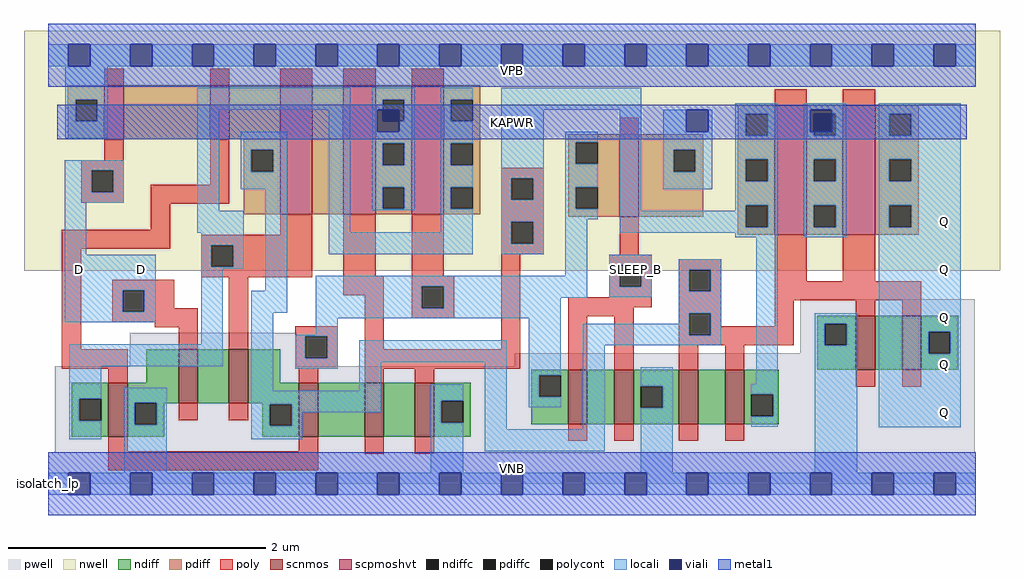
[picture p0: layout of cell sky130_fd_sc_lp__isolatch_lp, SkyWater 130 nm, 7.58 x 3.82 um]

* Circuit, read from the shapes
.subckt sky130_fd_sc_lp__isolatch_lp D SLEEP_B KAPWR VGND VNB VPB VPWR Q
XM1 VGND n1 n2 VNB sky130_fd_pr__nfet_01v8 w=0.42 l=0.15
XM2 n3 D VGND VNB sky130_fd_pr__nfet_01v8 w=0.42 l=0.15
XM3 n4 n2 n3 VNB sky130_fd_pr__nfet_01v8 w=0.42 l=0.15
XM4 n5 n1 n4 VNB sky130_fd_pr__nfet_01v8 w=0.42 l=0.15
XM5 n6 n7 n5 VNB sky130_fd_pr__nfet_01v8 w=0.42 l=0.15
XM6 VGND n7 n6 VNB sky130_fd_pr__nfet_01v8 w=0.42 l=0.15
XM7 n8 SLEEP_B n1 VNB sky130_fd_pr__nfet_01v8 w=0.42 l=0.15
XM8 VGND SLEEP_B n8 VNB sky130_fd_pr__nfet_01v8 w=0.42 l=0.15
XM9 n9 n4 VGND VNB sky130_fd_pr__nfet_01v8 w=0.42 l=0.15
XM10 n7 n4 n9 VNB sky130_fd_pr__nfet_01v8 w=0.42 l=0.15
XM11 n10 n4 VGND VNB sky130_fd_pr__nfet_01v8 w=0.42 l=0.15
XM12 Q n4 n10 VNB sky130_fd_pr__nfet_01v8 w=0.42 l=0.15
XM13 n11 D VPWR VPB sky130_fd_pr__pfet_01v8_hvt w=0.42 l=0.15
XM14 n4 n1 n11 VPB sky130_fd_pr__pfet_01v8_hvt w=0.42 l=0.15
XM15 n12 n2 n4 VPB sky130_fd_pr__pfet_01v8_hvt w=1 l=0.25
XM16 KAPWR n7 n12 VPB sky130_fd_pr__pfet_01v8_hvt w=1 l=0.25
XM17 n2 n1 KAPWR VPB sky130_fd_pr__pfet_01v8_hvt w=1 l=0.25
XM18 KAPWR SLEEP_B n1 VPB sky130_fd_pr__pfet_01v8_hvt w=0.64 l=0.15
XM19 KAPWR n4 n7 VPB sky130_fd_pr__pfet_01v8_hvt w=1 l=0.25
XM20 Q n4 KAPWR VPB sky130_fd_pr__pfet_01v8_hvt w=1 l=0.25
.ends

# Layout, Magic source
magic
tech sky130A
magscale 1 2
<< nwell >>
rect -38 331 1478 704
<< pwell >>
rect 126 183 386 235
rect 1168 203 1439 287
rect 724 183 1439 203
rect 10 49 1439 183
rect 0 0 1440 49
<< scnmos >>
rect 93 73 123 157
rect 202 125 232 209
rect 280 125 310 209
rect 1254 177 1284 261
rect 1326 177 1356 261
rect 389 73 419 157
rect 491 73 521 157
rect 569 73 599 157
rect 807 93 837 177
rect 879 93 909 177
rect 979 93 1009 177
rect 1051 93 1081 177
<< scpmoshvt >>
rect 87 535 117 619
rect 251 535 281 619
rect 360 419 410 619
rect 458 419 508 619
rect 564 419 614 619
rect 887 415 917 543
rect 1128 387 1178 587
rect 1234 387 1284 587
<< ndiff >>
rect 152 157 202 209
rect 36 132 93 157
rect 36 98 48 132
rect 82 98 93 132
rect 36 73 93 98
rect 123 126 202 157
rect 123 92 134 126
rect 168 125 202 126
rect 232 125 280 209
rect 310 157 360 209
rect 1194 249 1254 261
rect 1194 215 1206 249
rect 1240 215 1254 249
rect 1194 177 1254 215
rect 1284 177 1326 261
rect 1356 236 1413 261
rect 1356 202 1367 236
rect 1401 202 1413 236
rect 1356 177 1413 202
rect 750 169 807 177
rect 310 125 389 157
rect 168 92 180 125
rect 332 124 389 125
rect 123 73 180 92
rect 332 90 344 124
rect 378 90 389 124
rect 332 73 389 90
rect 419 73 491 157
rect 521 73 569 157
rect 599 129 656 157
rect 599 95 610 129
rect 644 95 656 129
rect 599 73 656 95
rect 750 135 762 169
rect 796 135 807 169
rect 750 93 807 135
rect 837 93 879 177
rect 909 152 979 177
rect 909 118 920 152
rect 954 118 979 152
rect 909 93 979 118
rect 1009 93 1051 177
rect 1081 139 1134 177
rect 1081 105 1092 139
rect 1126 105 1134 139
rect 1081 93 1134 105
<< pdiff >>
rect 30 597 87 619
rect 30 563 42 597
rect 76 563 87 597
rect 30 535 87 563
rect 117 535 251 619
rect 281 535 360 619
rect 303 519 360 535
rect 303 485 315 519
rect 349 485 360 519
rect 303 419 360 485
rect 410 419 458 619
rect 508 597 564 619
rect 508 563 519 597
rect 553 563 564 597
rect 508 529 564 563
rect 508 495 519 529
rect 553 495 564 529
rect 508 461 564 495
rect 508 427 519 461
rect 553 427 564 461
rect 508 419 564 427
rect 614 597 671 619
rect 614 563 625 597
rect 659 563 671 597
rect 1071 575 1128 587
rect 614 529 671 563
rect 614 495 625 529
rect 659 495 671 529
rect 614 461 671 495
rect 807 531 887 543
rect 807 497 819 531
rect 853 497 887 531
rect 614 427 625 461
rect 659 427 671 461
rect 614 419 671 427
rect 807 461 887 497
rect 807 427 819 461
rect 853 427 887 461
rect 807 415 887 427
rect 917 519 1017 543
rect 917 485 971 519
rect 1005 485 1017 519
rect 917 415 1017 485
rect 1071 541 1083 575
rect 1117 541 1128 575
rect 1071 504 1128 541
rect 1071 470 1083 504
rect 1117 470 1128 504
rect 1071 433 1128 470
rect 1071 399 1083 433
rect 1117 399 1128 433
rect 1071 387 1128 399
rect 1178 575 1234 587
rect 1178 541 1189 575
rect 1223 541 1234 575
rect 1178 504 1234 541
rect 1178 470 1189 504
rect 1223 470 1234 504
rect 1178 433 1234 470
rect 1178 399 1189 433
rect 1223 399 1234 433
rect 1178 387 1234 399
rect 1284 575 1352 587
rect 1284 541 1306 575
rect 1340 541 1352 575
rect 1284 504 1352 541
rect 1284 470 1306 504
rect 1340 470 1352 504
rect 1284 433 1352 470
rect 1284 399 1306 433
rect 1340 399 1352 433
rect 1284 387 1352 399
<< ndiffc >>
rect 48 98 82 132
rect 134 92 168 126
rect 1206 215 1240 249
rect 1367 202 1401 236
rect 344 90 378 124
rect 610 95 644 129
rect 762 135 796 169
rect 920 118 954 152
rect 1092 105 1126 139
<< pdiffc >>
rect 42 563 76 597
rect 315 485 349 519
rect 519 563 553 597
rect 519 495 553 529
rect 519 427 553 461
rect 625 563 659 597
rect 625 495 659 529
rect 819 497 853 531
rect 625 427 659 461
rect 819 427 853 461
rect 971 485 1005 519
rect 1083 541 1117 575
rect 1083 470 1117 504
rect 1083 399 1117 433
rect 1189 541 1223 575
rect 1189 470 1223 504
rect 1189 399 1223 433
rect 1306 541 1340 575
rect 1306 470 1340 504
rect 1306 399 1340 433
<< poly >>
rect 87 619 117 645
rect 251 619 281 645
rect 360 619 410 645
rect 458 619 508 645
rect 564 619 614 645
rect 87 503 117 535
rect 51 487 117 503
rect 51 453 67 487
rect 101 453 117 487
rect 251 465 281 535
rect 51 437 117 453
rect 159 435 281 465
rect 159 395 189 435
rect 1128 587 1178 613
rect 1234 587 1284 613
rect 887 543 917 569
rect 703 475 769 491
rect 703 441 719 475
rect 753 441 769 475
rect 21 365 189 395
rect 360 387 410 419
rect 237 371 410 387
rect 21 209 51 365
rect 237 337 253 371
rect 287 337 410 371
rect 237 321 410 337
rect 458 323 508 419
rect 564 323 614 419
rect 703 407 769 441
rect 703 373 719 407
rect 753 373 769 407
rect 703 357 769 373
rect 99 301 195 317
rect 99 267 115 301
rect 149 273 195 301
rect 149 267 232 273
rect 99 251 232 267
rect 165 243 232 251
rect 202 209 232 243
rect 280 209 310 321
rect 458 293 521 323
rect 383 229 449 245
rect 21 179 123 209
rect 93 157 123 179
rect 383 195 399 229
rect 433 195 449 229
rect 383 179 449 195
rect 491 209 521 293
rect 564 307 630 323
rect 564 273 580 307
rect 614 273 630 307
rect 564 257 630 273
rect 703 209 733 357
rect 887 356 917 415
rect 871 340 937 356
rect 871 306 887 340
rect 921 306 937 340
rect 871 290 937 306
rect 491 179 733 209
rect 807 274 937 290
rect 979 333 1045 349
rect 979 299 995 333
rect 1029 299 1045 333
rect 807 260 909 274
rect 389 157 419 179
rect 491 157 521 179
rect 569 157 599 179
rect 807 177 837 260
rect 879 177 909 260
rect 979 265 1045 299
rect 979 231 995 265
rect 1029 245 1045 265
rect 1128 315 1178 387
rect 1234 315 1284 387
rect 1128 285 1356 315
rect 1128 245 1158 285
rect 1254 261 1284 285
rect 1326 261 1356 285
rect 1029 231 1158 245
rect 979 215 1158 231
rect 979 177 1009 215
rect 1051 177 1081 215
rect 202 99 232 125
rect 280 99 310 125
rect 1254 151 1284 177
rect 1326 151 1356 177
rect 93 51 123 73
rect 389 51 419 73
rect 93 21 419 51
rect 491 47 521 73
rect 569 47 599 73
rect 807 67 837 93
rect 879 67 909 93
rect 979 67 1009 93
rect 1051 67 1081 93
<< polycont >>
rect 67 453 101 487
rect 719 441 753 475
rect 253 337 287 371
rect 719 373 753 407
rect 115 267 149 301
rect 399 195 433 229
rect 580 273 614 307
rect 887 306 921 340
rect 995 299 1029 333
rect 995 231 1029 265
<< locali >>
rect 0 649 31 683
rect 65 649 127 683
rect 161 649 223 683
rect 257 649 319 683
rect 353 649 415 683
rect 449 649 511 683
rect 545 649 607 683
rect 641 649 703 683
rect 737 649 799 683
rect 833 649 895 683
rect 929 649 991 683
rect 1025 649 1087 683
rect 1121 649 1183 683
rect 1217 649 1279 683
rect 1313 649 1375 683
rect 1409 649 1440 683
rect 26 597 92 649
rect 26 563 42 597
rect 76 563 92 597
rect 26 537 92 563
rect 231 581 469 615
rect 25 487 117 503
rect 25 453 67 487
rect 101 453 117 487
rect 25 437 117 453
rect 25 356 59 437
rect 231 424 265 581
rect 299 519 371 547
rect 299 485 315 519
rect 349 485 371 519
rect 299 458 371 485
rect 231 390 303 424
rect 237 371 303 390
rect 25 301 167 356
rect 25 267 115 301
rect 149 267 167 301
rect 25 251 167 267
rect 237 337 253 371
rect 287 337 303 371
rect 237 334 303 337
rect 237 217 271 334
rect 337 300 371 458
rect 435 391 469 581
rect 503 597 569 615
rect 503 581 519 597
rect 503 547 511 581
rect 553 563 569 597
rect 545 547 569 563
rect 503 529 569 547
rect 503 495 519 529
rect 553 495 569 529
rect 503 461 569 495
rect 503 427 519 461
rect 553 427 569 461
rect 503 425 569 427
rect 609 597 659 615
rect 609 563 625 597
rect 609 529 659 563
rect 609 495 625 529
rect 609 461 659 495
rect 609 427 625 461
rect 609 391 659 427
rect 435 357 659 391
rect 703 581 921 615
rect 703 475 769 581
rect 703 441 719 475
rect 753 441 769 475
rect 703 407 769 441
rect 703 373 719 407
rect 753 373 769 407
rect 703 357 769 373
rect 803 531 853 547
rect 803 497 819 531
rect 803 461 853 497
rect 803 427 819 461
rect 803 411 853 427
rect 887 424 921 581
rect 955 547 991 581
rect 1025 547 1031 581
rect 955 519 1031 547
rect 955 485 971 519
rect 1005 485 1031 519
rect 955 458 1031 485
rect 1067 575 1133 591
rect 1067 541 1083 575
rect 1117 541 1133 575
rect 1067 504 1133 541
rect 1067 470 1083 504
rect 1117 470 1133 504
rect 1067 433 1133 470
rect 1067 424 1083 433
rect 803 323 837 411
rect 887 399 1083 424
rect 1117 399 1133 433
rect 887 390 1133 399
rect 1067 383 1133 390
rect 1173 581 1239 591
rect 1173 547 1183 581
rect 1217 575 1239 581
rect 1173 541 1189 547
rect 1223 541 1239 575
rect 1173 504 1239 541
rect 1173 470 1189 504
rect 1223 470 1239 504
rect 1173 433 1239 470
rect 1173 399 1189 433
rect 1223 399 1239 433
rect 1173 383 1239 399
rect 1290 575 1417 591
rect 1290 541 1306 575
rect 1340 541 1417 575
rect 1290 504 1417 541
rect 1290 470 1306 504
rect 1340 470 1417 504
rect 1290 433 1417 470
rect 1290 399 1306 433
rect 1340 399 1417 433
rect 32 183 271 217
rect 315 266 371 300
rect 415 307 837 323
rect 415 273 580 307
rect 614 289 837 307
rect 871 340 937 356
rect 871 306 887 340
rect 921 306 937 340
rect 871 290 937 306
rect 979 333 1045 349
rect 979 299 995 333
rect 1029 299 1045 333
rect 614 273 796 289
rect 32 132 82 183
rect 32 98 48 132
rect 32 69 82 98
rect 118 126 184 149
rect 118 92 134 126
rect 168 92 184 126
rect 118 17 184 92
rect 315 145 349 266
rect 415 257 796 273
rect 415 232 449 257
rect 383 229 449 232
rect 383 195 399 229
rect 433 195 449 229
rect 383 179 449 195
rect 483 189 712 223
rect 483 145 517 189
rect 315 124 517 145
rect 315 90 344 124
rect 378 111 517 124
rect 594 129 644 155
rect 378 90 394 111
rect 315 69 394 90
rect 594 95 610 129
rect 594 17 644 95
rect 678 85 712 189
rect 746 169 796 257
rect 979 265 1045 299
rect 979 249 995 265
rect 746 135 762 169
rect 746 119 796 135
rect 830 231 995 249
rect 1029 231 1045 265
rect 830 215 1045 231
rect 830 85 864 215
rect 678 51 864 85
rect 920 152 970 181
rect 1099 155 1133 383
rect 954 118 970 152
rect 920 17 970 118
rect 1092 139 1133 155
rect 1126 105 1133 139
rect 1092 89 1133 105
rect 1190 249 1256 265
rect 1190 215 1206 249
rect 1240 215 1256 249
rect 1190 17 1256 215
rect 1290 236 1417 399
rect 1290 202 1367 236
rect 1401 202 1417 236
rect 1290 88 1417 202
rect 0 -17 31 17
rect 65 -17 127 17
rect 161 -17 223 17
rect 257 -17 319 17
rect 353 -17 415 17
rect 449 -17 511 17
rect 545 -17 607 17
rect 641 -17 703 17
rect 737 -17 799 17
rect 833 -17 895 17
rect 929 -17 991 17
rect 1025 -17 1087 17
rect 1121 -17 1183 17
rect 1217 -17 1279 17
rect 1313 -17 1375 17
rect 1409 -17 1440 17
<< viali >>
rect 31 649 65 683
rect 127 649 161 683
rect 223 649 257 683
rect 319 649 353 683
rect 415 649 449 683
rect 511 649 545 683
rect 607 649 641 683
rect 703 649 737 683
rect 799 649 833 683
rect 895 649 929 683
rect 991 649 1025 683
rect 1087 649 1121 683
rect 1183 649 1217 683
rect 1279 649 1313 683
rect 1375 649 1409 683
rect 511 563 519 581
rect 519 563 545 581
rect 511 547 545 563
rect 991 547 1025 581
rect 1183 575 1217 581
rect 1183 547 1189 575
rect 1189 547 1217 575
rect 31 -17 65 17
rect 127 -17 161 17
rect 223 -17 257 17
rect 319 -17 353 17
rect 415 -17 449 17
rect 511 -17 545 17
rect 607 -17 641 17
rect 703 -17 737 17
rect 799 -17 833 17
rect 895 -17 929 17
rect 991 -17 1025 17
rect 1087 -17 1121 17
rect 1183 -17 1217 17
rect 1279 -17 1313 17
rect 1375 -17 1409 17
<< metal1 >>
rect 0 683 1440 715
rect 0 649 31 683
rect 65 649 127 683
rect 161 649 223 683
rect 257 649 319 683
rect 353 649 415 683
rect 449 649 511 683
rect 545 649 607 683
rect 641 649 703 683
rect 737 649 799 683
rect 833 649 895 683
rect 929 649 991 683
rect 1025 649 1087 683
rect 1121 649 1183 683
rect 1217 649 1279 683
rect 1313 649 1375 683
rect 1409 649 1440 683
rect 0 617 1440 649
rect 14 581 1426 589
rect 14 547 511 581
rect 545 547 991 581
rect 1025 547 1183 581
rect 1217 547 1426 581
rect 14 535 1426 547
rect 0 17 1440 49
rect 0 -17 31 17
rect 65 -17 127 17
rect 161 -17 223 17
rect 257 -17 319 17
rect 353 -17 415 17
rect 449 -17 511 17
rect 545 -17 607 17
rect 641 -17 703 17
rect 737 -17 799 17
rect 833 -17 895 17
rect 929 -17 991 17
rect 1025 -17 1087 17
rect 1121 -17 1183 17
rect 1217 -17 1279 17
rect 1313 -17 1375 17
rect 1409 -17 1440 17
rect 0 -49 1440 -17
<< labels >>
flabel pwell s 0 0 1440 49 0 FreeSans 200 0 0 0 VNB
port 5 nsew ground bidirectional
flabel nwell s 0 617 1440 666 0 FreeSans 200 0 0 0 VPB
port 6 nsew power bidirectional
rlabel comment s 0 0 0 0 4 isolatch_lp
flabel metal1 s 14 535 1426 589 0 FreeSans 340 0 0 0 KAPWR
port 3 nsew power bidirectional
flabel metal1 s 0 617 1440 666 0 FreeSans 340 0 0 0 VPWR
port 7 nsew power bidirectional
flabel metal1 s 0 0 1440 49 0 FreeSans 340 0 0 0 VGND
port 4 nsew ground bidirectional
flabel locali s 895 316 929 350 0 FreeSans 340 0 0 0 SLEEP_B
port 2 nsew clock input
flabel locali s 31 316 65 350 0 FreeSans 340 0 0 0 D
port 1 nsew signal input
flabel locali s 127 316 161 350 0 FreeSans 340 0 0 0 D
port 1 nsew signal input
flabel locali s 1375 94 1409 128 0 FreeSans 340 0 0 0 Q
port 8 nsew signal output
flabel locali s 1375 168 1409 202 0 FreeSans 340 0 0 0 Q
port 8 nsew signal output
flabel locali s 1375 242 1409 276 0 FreeSans 340 0 0 0 Q
port 8 nsew signal output
flabel locali s 1375 316 1409 350 0 FreeSans 340 0 0 0 Q
port 8 nsew signal output
flabel locali s 1375 390 1409 424 0 FreeSans 340 0 0 0 Q
port 8 nsew signal output
<< properties >>
string LEFsite unit
string LEFclass CORE
string FIXED_BBOX 0 0 1440 666
string GDS_FILE $PDKPATH/libs.ref/sky130_fd_sc_lp/gds/sky130_fd_sc_lp.gds
string LEFsymmetry X Y R90
string GDS_END 5086618
string GDS_START 5076048
<< end >>
